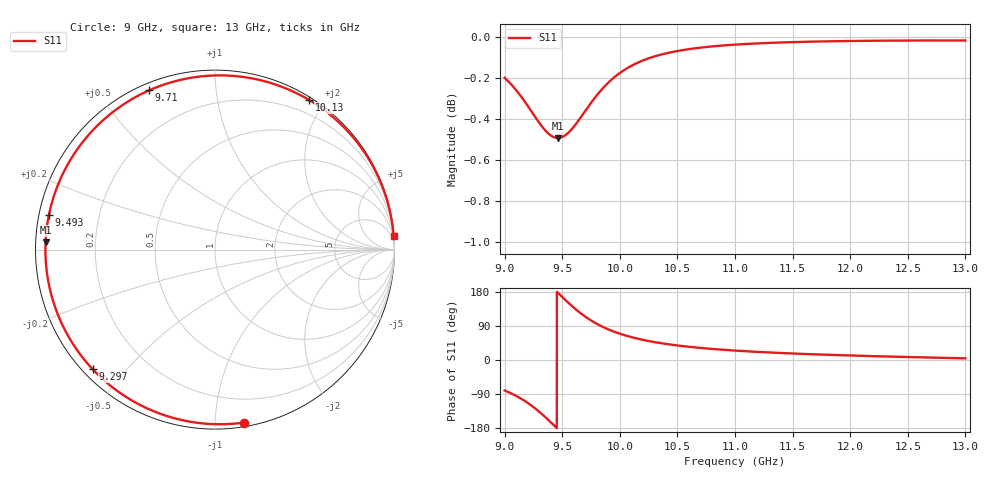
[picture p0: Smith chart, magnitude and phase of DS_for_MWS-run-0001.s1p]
! TOUCHSTONE file generated by CST DESIGN STUDIO
! Date and time: Tue Feb  4 14:06:44 2025
! Project name: C:\Work\MatlabApps\UnitCellOptimizationMatlab\CST\unitcell.cst
! Tree item: Tasks\Sweep1\SPara1\S-Parameters
! Header version: 2024
! Port assignment regex: !\s*Touchstone port\s*([0-9]+)\s*=\s*(CST MWS port|CST DES external port|CST DES block port)\s*(.+)\s* \(\"(.*)\"\)(\s*mode\s*([0-9]+))?.*
! Touchstone port assignment:
! Touchstone port 1 = CST DES external port 1 ("")
# GHz S MA R 50
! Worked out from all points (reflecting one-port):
!   4001 points, 9 GHz to 13 GHz, reference 50 ohm
!   lowest |S11| = -0.5 dB at 9.462 GHz (marker M1), VSWR 35.29, Z = 1.42 + j1.07 ohm
!   phase of S11 starts at -80 deg and turns -275 deg over the sweep
!   S11 on the Smith chart (normalised r, x): 9 GHz: 0.03, -1.18; 9.297 GHz: 0.03, -0.41; 9.493 GHz: 0.03, +0.10; 9.71 GHz: 0.03, +0.67; 10.13 GHz: 0.03, +1.81; 13 GHz: 1, +26
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9  0.9773 -80.3
9.093  0.9711 -93.5
9.167  0.965 -106.5
9.234  0.959 -120.5
9.297  0.9533 -135.7
9.34  0.9498 -147.1
9.386  0.9469 -160.0
9.425  0.9454 -171.4
9.462  0.9449 177.5
9.493  0.9452 168.3
9.5  0.9454 166.3
9.55  0.9475 151.9
9.607  0.9513 136.5
9.658  0.9556 123.9
9.71  0.9602 112.4
9.767  0.965 101.3
9.831  0.97 90.6
9.914  0.9754 79.1
10  0.9799 69.4
10.132  0.9848 57.9
10.298  0.9889 47.4
10.5  0.992 38.4
10.723  0.994 31.2
11  0.9956 24.9
11.5  0.997 17.2
12  0.9976 11.9
12.5  0.9978 7.8
13  0.9979 4.4
